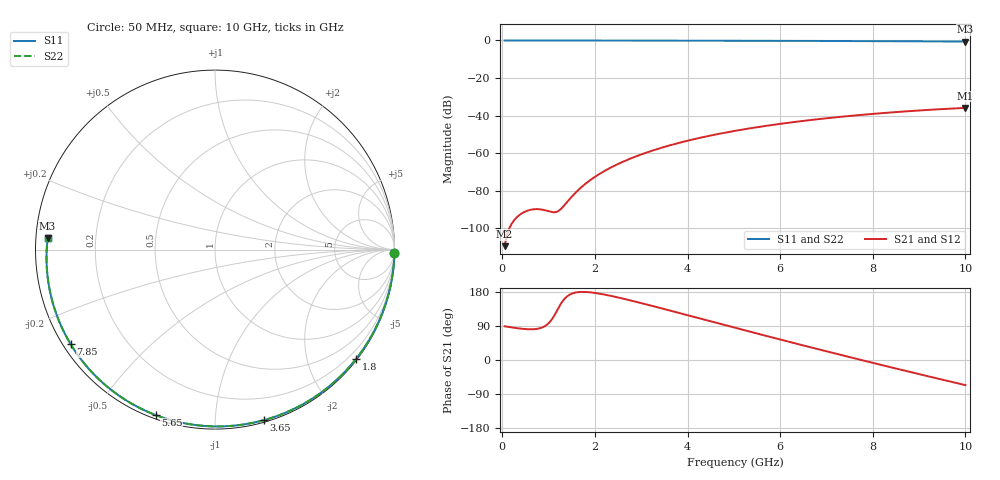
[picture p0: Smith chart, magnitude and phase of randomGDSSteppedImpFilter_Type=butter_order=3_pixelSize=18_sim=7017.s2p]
! freq	dB(S11)	phase(S11)	dB(S12)	phase(S12)
!  dB(S21)	phase(S21)	dB(S22)	phase(S22)
!S-par simulation data
#  GHz  S  DB  R 50
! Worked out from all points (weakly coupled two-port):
!   200 points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, 50 MHz to 10 GHz, reference 50 ohm
!   highest |S21| = -35.87 dB at 10 GHz (marker M1); lowest = -109.4 dB at 50 MHz (marker M2)
!   lowest |S11| = -0.6 dB at 10 GHz (marker M3), VSWR 29.56, Z = 1.69 + j1.67 ohm
!   |S11| at or under -10 dB: nowhere
!   |S22| runs from -0.6 to 0.0 dB; largest |S21 - S12| = 0
!   S11 on the Smith chart (normalised r, x): 50 MHz: open; 1.8 GHz: 0.03, -2.93; 3.65 GHz: 0.02, -1.33; 5.65 GHz: 0.02, -0.70; 7.85 GHz: 0.02, -0.30; 10 GHz: 0.03, +0.03
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0.05  -0.00 -1.1  -109.42 89.0  -109.42 89.0  -0.00 -1.1
0.4  -0.01 -8.5  -92.32 82.7  -92.32 82.7  -0.01 -8.5
0.8  -0.02 -17.0  -89.78 83.4  -89.78 83.4  -0.02 -17.0
1.6  -0.04 -33.6  -80.53 178.4  -80.53 178.4  -0.04 -33.6
1.65  -0.04 -34.6  -79.35 179.2  -79.35 179.2  -0.04 -34.6
1.75  -0.05 -36.7  -77.16 179.7  -77.16 179.7  -0.05 -36.7
1.8  -0.05 -37.7  -76.15 179.5  -76.15 179.5  -0.05 -37.7
2.1  -0.06 -43.8  -70.98 175.1  -70.98 175.1  -0.06 -43.8
2.5  -0.07 -51.8  -65.70 165.0  -65.70 165.0  -0.07 -51.8
2.9  -0.08 -59.6  -61.54 153.2  -61.54 153.2  -0.08 -59.6
3.4  -0.09 -69.2  -57.36 137.6  -57.36 137.6  -0.09 -69.2
3.65  -0.10 -73.9  -55.57 129.6  -55.57 129.6  -0.10 -73.9
4.35  -0.12 -86.8  -51.35 106.9  -51.35 106.9  -0.12 -86.8
5.05  -0.15 -99.3  -47.98 84.3  -47.98 84.3  -0.15 -99.3
5.65  -0.18 -109.7  -45.59 65.2  -45.59 65.2  -0.18 -109.7
6.15  -0.21 -118.3  -43.86 49.4  -43.86 49.4  -0.21 -118.3
6.7  -0.25 -127.5  -42.20 32.2  -42.20 32.2  -0.25 -127.5
7.3  -0.29 -137.5  -40.63 13.7  -40.63 13.7  -0.29 -137.5
7.85  -0.34 -146.7  -39.37 -3.0  -39.37 -3.0  -0.34 -146.7
8.35  -0.39 -155.1  -38.37 -18.0  -38.37 -18.0  -0.39 -155.1
9.2  -0.49 -169.6  -36.93 -43.1  -36.93 -43.1  -0.49 -169.6
10  -0.59 176.2  -35.87 -66.3  -35.87 -66.3  -0.59 176.2
